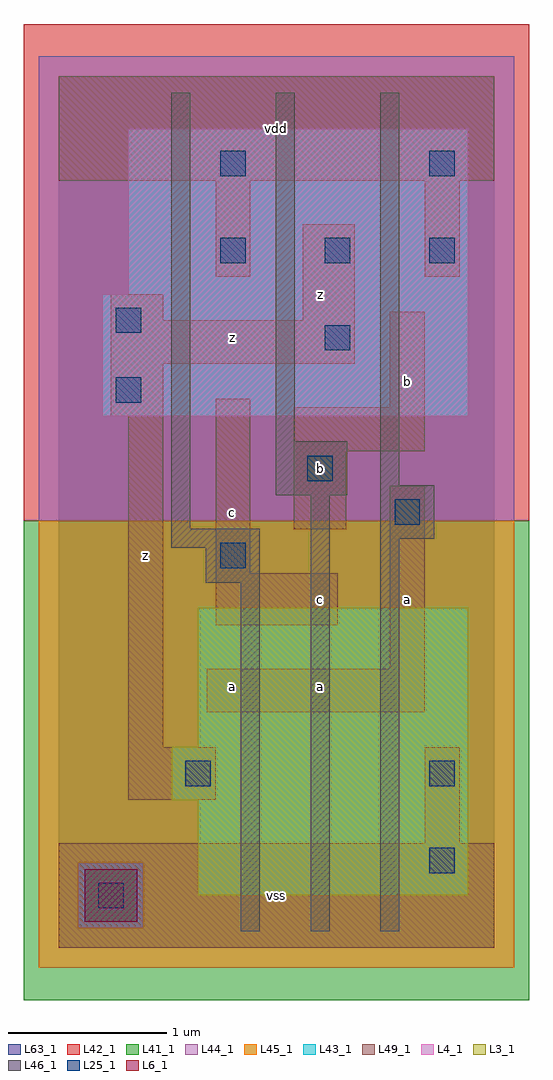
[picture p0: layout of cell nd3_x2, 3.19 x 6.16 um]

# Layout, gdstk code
import gdstk
lib = gdstk.Library(unit=1e-6, precision=1e-09)
def R(c, l, rs):  # rectangles x0, y0, x1, y1
    for r in rs: c.add(gdstk.rectangle(r[:2], r[2:], *l))
def A(c, l, x, y, w, h, nx, ny, dx, dy):  # array of equal rectangles
    R(c, l, [(x+i*dx, y+j*dy, x+i*dx+w, y+j*dy+h) for i in range(nx) for j in range(ny)])
L3_1 = (3, 1)
L4_1 = (4, 1)
L6_1 = (6, 1)
L25_1 = (25, 1)
L41_1 = (41, 1)
L42_1 = (42, 1)
L43_1 = (43, 1)
L44_1 = (44, 1)
L45_1 = (45, 1)
L46_1 = (46, 1)
L49_1 = (49, 1)
L63_1 = (63, 1)

nd3_x2 = lib.new_cell('nd3_x2')
R(nd3_x2, L3_1, [(0.88,0.33,2.585,0.935), (0.715,0.935,2.585,1.265), (0.88,1.265,2.585,2.145)])
R(nd3_x2, L4_1, [(0.275,3.355,2.585,4.125), (0.44,4.125,2.585,5.17)])
R(nd3_x2, L6_1, [(0.165,0.165,0.495,0.495)])
A(nd3_x2, L25_1, 1.02, 4.32, 0.16, 0.16, 3, 1, 0.66, 0)
R(nd3_x2, L25_1, [(0.25,0.25,0.41,0.41), (2.34,0.47,2.5,0.63), (0.8,1.02,0.96,1.18), (2.34,1.02,2.5,1.18), (1.02,2.395,1.18,2.555), (2.12,2.67,2.28,2.83), (1.57,2.945,1.73,3.105), (0.36,3.44,0.52,3.6), (1.68,3.77,1.84,3.93), (0.36,3.88,0.52,4.04), (1.02,4.87,1.18,5.03), (2.34,4.87,2.5,5.03)])
R(nd3_x2, L41_1, [(-0.22,-0.33,2.97,2.695)])
R(nd3_x2, L42_1, [(-0.22,2.695,2.97,5.83)])
R(nd3_x2, L43_1, [(0.165,0.165,0.495,0.495), (0.88,0.33,2.585,0.935), (0.715,0.935,2.585,1.265), (0.88,1.265,2.585,2.145), (0.275,3.355,2.585,4.125), (0.44,4.125,2.585,5.17)])
R(nd3_x2, L44_1, [(0.125,0.125,0.535,0.535), (-0.125,2.695,2.875,5.625)])
R(nd3_x2, L45_1, [(-0.125,-0.125,2.875,0.125), (-0.125,0.125,0.125,0.535), (0.535,0.125,2.875,0.535), (-0.125,0.535,2.875,2.695)])
R(nd3_x2, L46_1, [(1.15,0.105,1.27,2.305), (1.59,0.105,1.71,2.855), (2.03,0.105,2.15,2.58), (0.93,2.305,1.27,2.525), (0.71,2.525,1.27,2.645), (2.03,2.58,2.37,2.92), (0.71,2.645,0.83,5.395), (1.37,2.855,1.82,3.195), (2.03,2.92,2.15,5.395), (1.37,3.195,1.49,5.395)])
R(nd3_x2, L49_1, [(0,0,2.75,0.66), (2.31,0.66,2.53,1.265), (0.44,0.935,0.99,1.265), (0.44,1.265,0.66,3.355), (0.935,1.485,2.31,1.76), (2.09,1.76,2.31,2.915), (0.99,2.035,1.76,2.365), (0.99,2.365,1.21,3.465), (1.485,2.64,1.815,3.135), (1.485,3.135,2.31,3.41), (0.33,3.355,0.66,3.685), (2.09,3.41,2.31,4.015), (0.33,3.685,1.87,3.96), (0.33,3.96,0.66,4.125), (1.54,3.96,1.87,4.565), (0.99,4.235,1.21,4.84), (2.31,4.235,2.53,4.84), (0,4.84,2.75,5.5)])
R(nd3_x2, L63_1, [(0,0,2.75,5.5)])
nd3_x2.add(gdstk.Label('z', (0.55,2.475), layer=49, texttype=1))
nd3_x2.add(gdstk.Label('z', (0.55,2.475), layer=49, texttype=1))
nd3_x2.add(gdstk.Label('vss', (1.375,0.33), layer=49, texttype=1))
nd3_x2.add(gdstk.Label('vss', (1.375,0.33), layer=49, texttype=1))
nd3_x2.add(gdstk.Label('a', (1.1,1.65), layer=49, texttype=1))
nd3_x2.add(gdstk.Label('a', (1.1,1.65), layer=49, texttype=1))
nd3_x2.add(gdstk.Label('c', (1.1,2.75), layer=49, texttype=1))
nd3_x2.add(gdstk.Label('c', (1.1,2.75), layer=49, texttype=1))
nd3_x2.add(gdstk.Label('z', (1.1,3.85), layer=49, texttype=1))
nd3_x2.add(gdstk.Label('z', (1.1,3.85), layer=49, texttype=1))
nd3_x2.add(gdstk.Label('vdd', (1.375,5.17), layer=49, texttype=1))
nd3_x2.add(gdstk.Label('vdd', (1.375,5.17), layer=49, texttype=1))
nd3_x2.add(gdstk.Label('a', (1.65,1.65), layer=49, texttype=1))
nd3_x2.add(gdstk.Label('a', (1.65,1.65), layer=49, texttype=1))
nd3_x2.add(gdstk.Label('c', (1.65,2.2), layer=49, texttype=1))
nd3_x2.add(gdstk.Label('c', (1.65,2.2), layer=49, texttype=1))
nd3_x2.add(gdstk.Label('b', (1.65,3.025), layer=49, texttype=1))
nd3_x2.add(gdstk.Label('b', (1.65,3.025), layer=49, texttype=1))
nd3_x2.add(gdstk.Label('z', (1.65,4.125), layer=49, texttype=1))
nd3_x2.add(gdstk.Label('z', (1.65,4.125), layer=49, texttype=1))
nd3_x2.add(gdstk.Label('a', (2.2,2.2), layer=49, texttype=1))
nd3_x2.add(gdstk.Label('a', (2.2,2.2), layer=49, texttype=1))
nd3_x2.add(gdstk.Label('b', (2.2,3.575), layer=49, texttype=1))
nd3_x2.add(gdstk.Label('b', (2.2,3.575), layer=49, texttype=1))

lib.write_gds('nd3_x2.gds')
